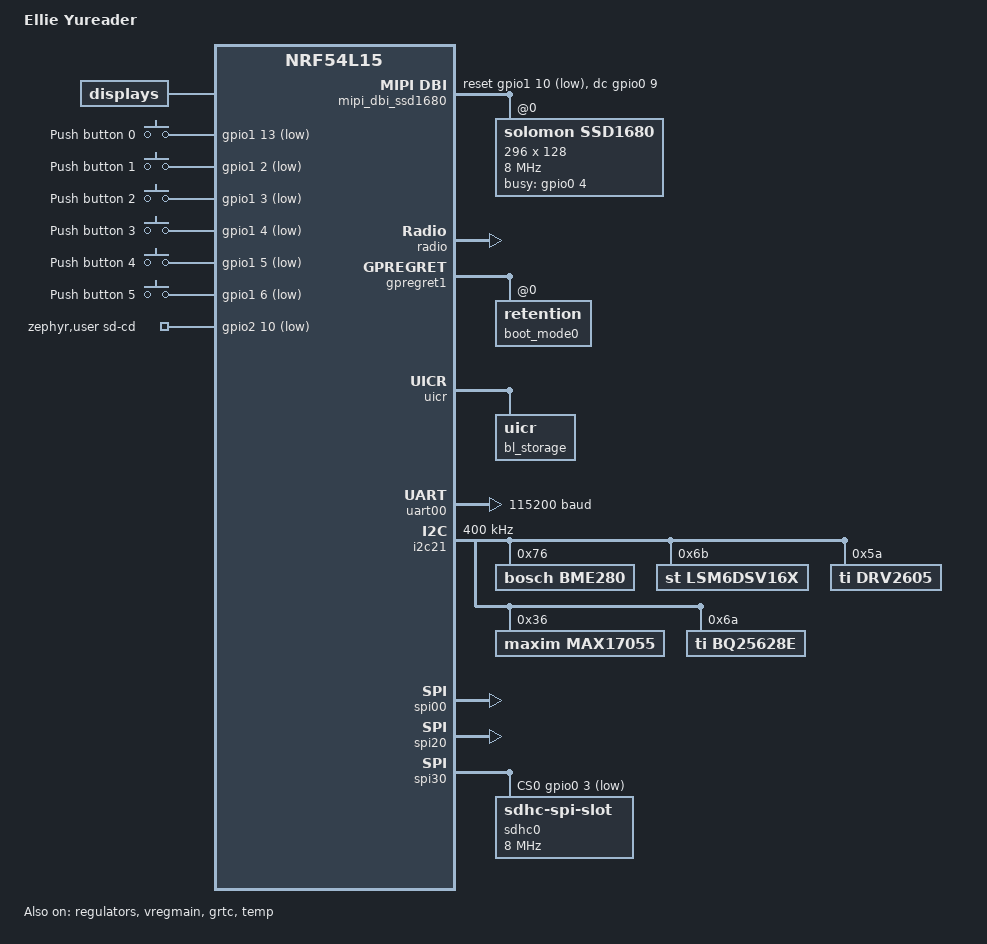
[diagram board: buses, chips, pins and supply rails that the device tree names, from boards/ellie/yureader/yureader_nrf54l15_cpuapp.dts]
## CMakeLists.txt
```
cmake_minimum_required(VERSION 3.20)

list(APPEND BOARD_ROOT ${CMAKE_CURRENT_SOURCE_DIR})

find_package(Zephyr REQUIRED HINTS $ENV{ZEPHYR_BASE})
project(yureader)

target_sources(app PRIVATE src/main.c src/bindings/zephyr.c src/bindings/sd.c src/bindings/display.c src/font.c src/bindings/buttons.c)

target_include_directories(app PRIVATE ${CMAKE_CURRENT_SOURCE_DIR}/include)

file(GLOB_RECURSE ZIG_FILES CONFIGURE_DEPENDS "${CMAKE_SOURCE_DIR}/src/zig/*")

add_custom_command(
    OUTPUT ${CMAKE_SOURCE_DIR}/build/libapp.a
    COMMAND zig build
    WORKING_DIRECTORY ${CMAKE_SOURCE_DIR}/src
    DEPENDS ${ZIG_FILES} ${CMAKE_CURRENT_SOURCE_DIR}/src/build.zig
    VERBATIM
)

add_custom_target(app_zig_build
    DEPENDS ${CMAKE_SOURCE_DIR}/build/libapp.a
)

add_library(app_zig STATIC IMPORTED)
set_target_properties(app_zig PROPERTIES IMPORTED_LOCATION ${CMAKE_SOURCE_DIR}/build/libapp.a)
add_dependencies(app_zig app_zig_build)
target_link_libraries(app PRIVATE app_zig)

add_subdirectory(drivers)
```

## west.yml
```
manifest:
  version: "0.13"

  remotes:
    - name: nrfconnect
      url-base: https://github.com/nrfconnect

  projects:
    - name: nrf
      remote: nrfconnect
      repo-path: sdk-nrf
      path: nrf
      revision: v3.3.0
      import: true

  self:
    path: app
```

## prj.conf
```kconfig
CONFIG_MAIN_STACK_SIZE=4096
CONFIG_HEAP_MEM_POOL_SIZE=16384

CONFIG_GPIO=y

CONFIG_I2C=y
CONFIG_SPI=y

CONFIG_SENSOR=y
CONFIG_BME280=y

CONFIG_HAPTICS=y

CONFIG_PRINTK=y
CONFIG_CONSOLE=y
CONFIG_LOG=y

CONFIG_FUEL_GAUGE=y
CONFIG_MAX17055=y

CONFIG_DISK_ACCESS=y
CONFIG_DISK_DRIVER_SDMMC=y
CONFIG_FILE_SYSTEM=y
CONFIG_FAT_FILESYSTEM_ELM=y
CONFIG_FILE_SYSTEM_MKFS=y

CONFIG_FS_FATFS_MOUNT_MKFS=n

CONFIG_DISPLAY=y
CONFIG_SSD16XX=y

CONFIG_CHARGER=y
CONFIG_CHARGER_BQ25628E=y

CONFIG_DEBUG=y
CONFIG_DEBUG_THREAD_INFO=y
CONFIG_ASSERT=y
CONFIG_RESET_ON_FATAL_ERROR=n
CONFIG_FAULT_DUMP=2
CONFIG_INIT_STACKS=y
CONFIG_THREAD_STACK_INFO=y
CONFIG_THREAD_NAME=y

# Better symbols + unwind info
CONFIG_FRAME_POINTER=y
CONFIG_DEBUG_OPTIMIZATIONS=y   # Use -Og for debuggable builds

# Print a stack trace on fatal errors (if supported by your arch)
CONFIG_EXCEPTION_STACK_TRACE=y

# Catch stack corruption sooner
CONFIG_STACK_SENTINEL=y
CONFIG_MPU_STACK_GUARD=y
```

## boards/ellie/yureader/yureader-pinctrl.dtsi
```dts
&pinctrl {
	uart00_default: uart00_default {
		group1 {
			psels = <NRF_PSEL(UART_TX, 2, 7)>;
		};

		group2 {
			psels = <NRF_PSEL(UART_RX, 2, 8)>;
		};
	};

	uart00_sleep: uart00_sleep {
		group1 {
			psels = <NRF_PSEL(UART_TX, 2, 7)>;
			low-power-enable;
		};

		group2 {
			psels = <NRF_PSEL(UART_RX, 2, 8)>;
			low-power-enable;
		};
	};

	i2c21_default: i2c21_default {
		group1 {
			psels = <NRF_PSEL(TWIM_SCL, 1, 7)>,
			       <NRF_PSEL(TWIM_SDA, 1, 8)>;
		};
	};

	i2c21_sleep: i2c21_sleep {
		group1 {
			psels = <NRF_PSEL(TWIM_SCL, 1, 7)>,
			       <NRF_PSEL(TWIM_SDA, 1, 8)>;
			low-power-enable;
		};
	};

	spi00_default: spi00_default {
		group1 {
			psels = <NRF_PSEL(SPIM_SCK, 2, 1)>,
				<NRF_PSEL(SPIM_MOSI, 2, 2)>,
				<NRF_PSEL(SPIM_MISO, 2, 4)>;
		};
	};

	spi00_sleep: spi00_sleep {
		group1 {
			psels = <NRF_PSEL(SPIM_SCK, 2, 1)>,
				<NRF_PSEL(SPIM_MOSI, 2, 2)>,
				<NRF_PSEL(SPIM_MISO, 2, 4)>;
			low-power-enable;
		};
	};

	spi20_default: spi20_default {
		group1 {
			psels = <NRF_PSEL(SPIM_SCK, 1, 11)>,
				<NRF_PSEL(SPIM_MOSI, 1, 12)>;
		};
	};

	spi20_sleep: spi20_sleep {
		group1 {
			psels = <NRF_PSEL(SPIM_SCK, 1, 11)>,
				<NRF_PSEL(SPIM_MOSI, 1, 12)>;
			low-power-enable;
		};
	};

	spi30_default: spi30_default {
		group1 {
			psels = <NRF_PSEL(SPIM_SCK, 0, 0)>,
				<NRF_PSEL(SPIM_MOSI, 0, 1)>,
				<NRF_PSEL(SPIM_MISO, 0, 2)>;
		};
	};

	spi30_sleep: spi30_sleep {
		group1 {
			psels = <NRF_PSEL(SPIM_SCK, 0, 0)>,
				<NRF_PSEL(SPIM_MOSI, 0, 1)>,
				<NRF_PSEL(SPIM_MISO, 0, 2)>;
			low-power-enable;
		};
	};
};
```

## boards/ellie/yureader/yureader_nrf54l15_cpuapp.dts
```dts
/dts-v1/;

#include <nordic/nrf54l15_cpuapp.dtsi>
#include <zephyr/dt-bindings/input/input-event-codes.h>
#include <zephyr/dt-bindings/i2c/i2c.h>
#include <zephyr/dt-bindings/sensor/lsm6dsv16x.h>
#include "yureader-pinctrl.dtsi"

/ {
	compatible = "ellie,yureader";
	model = "Ellie Yureader";

	chosen {
		zephyr,console = &uart00;
		zephyr,shell-uart = &uart00;
		zephyr,uart-mcumgr = &uart00;
		zephyr,bt-mon-uart = &uart00;
		zephyr,bt-c2h-uart = &uart00;
		zephyr,display = &ssd1680;
		zephyr,code-partition = &slot0_partition;
		zephyr,sram = &cpuapp_sram;
		zephyr,flash-controller = &rram_controller;
		zephyr,flash = &cpuapp_rram;
		zephyr,boot-mode = &boot_mode0;
		zephyr,display = &ssd1680;
	};

	displays {
		compatible = "zephyr,displays";
		displays = <&ssd1680>;
	};
	
	buttons {
		compatible = "gpio-keys";

		button0: button_0 {
			gpios = <&gpio1 13 GPIO_ACTIVE_LOW>;
			label = "Push button 0";
			zephyr,code = <INPUT_KEY_0>;
		};

		button1: button_1 {
			gpios = <&gpio1 2 GPIO_ACTIVE_LOW>;
			label = "Push button 1";
			zephyr,code = <INPUT_KEY_1>;
		};

		button2: button_3 {
			gpios = <&gpio1 3 GPIO_ACTIVE_LOW>;
			label = "Push button 2";
			zephyr,code = <INPUT_KEY_2>;
		};

		button3: button_4 {
			gpios = <&gpio1 4 GPIO_ACTIVE_LOW>;
			label = "Push button 3";
			zephyr,code = <INPUT_KEY_3>;
		};

		button4: button_5 {
			gpios = <&gpio1 5 GPIO_ACTIVE_LOW>;
			label = "Push button 4";
			zephyr,code = <INPUT_KEY_4>;
		};

		button5: button_6 {
			gpios = <&gpio1 6 GPIO_ACTIVE_LOW>;
			label = "Push button 5";
			zephyr,code = <INPUT_KEY_5>;
		};
	};

	zephyr,user {
		sd-cd-gpios = <&gpio2 10 GPIO_ACTIVE_LOW>;
	};

	aliases {
		sw0 = &button0;
		sw1 = &button1;
		sw2 = &button2;
		sw3 = &button3;
		sw4 = &button4;
		sw5 = &button5;
	};
};

&cpuapp_sram {
	status = "okay";
};

&lfxo {
	load-capacitors = "external";
};

&hfxo {
	load-capacitors = "external";
};

&regulators {
	status = "okay";
};

&vregmain {
	status = "okay";
	regulator-initial-mode = <NRF5X_REG_MODE_DCDC>;
};

&grtc {
	owned-channels = <0 1 2 3 4 5 6 7 8 9 10 11>;
	/* Channels 7-11 reserved for Zero Latency IRQs, 3-4 for FLPR */
	child-owned-channels = <3 4 7 8 9 10 11>;
	status = "okay";
};

&gpio0 {
	status = "okay";
};

&gpio1 {
	status = "okay";
};

&gpio2 {
	status = "okay";
};

&gpiote20 {
	status = "okay";
};

&gpiote30 {
	status = "okay";
};

&radio {
	status = "okay";
};

&ieee802154 {
	status = "disabled";
};

&temp {
	status = "okay";
};

&clock {
	status = "okay";
};

&gpregret1 {
    status = "okay";

    boot_mode0: boot_mode@0 {
        compatible = "zephyr,retention";
        status = "okay";
        reg = <0x0 0x1>;
    };
};

&cpuapp_rram {
	partitions {
		compatible = "fixed-partitions";
		#address-cells = <1>;
		#size-cells = <1>;

		boot_partition: partition@0 {
			label = "mcuboot";
			reg = <0x0 DT_SIZE_K(64)>;
		};

		slot0_partition: partition@10000 {
			label = "image-0";
			reg = <0x10000 DT_SIZE_K(664)>;
		};

		slot1_partition: partition@b6000 {
			label = "image-1";
			reg = <0xb6000 DT_SIZE_K(664)>;
		};

		storage_partition: partition@15c000 {
			label = "storage";
			reg = <0x15c000 DT_SIZE_K(36)>;
		};
	};
};

&uicr {
	bl_storage: uicr@500 {
		reg = <0x500 0x460>;
	};
};

&uart00 {
	status = "okay";
	current-speed = <115200>;
	pinctrl-0 = <&uart00_default>;
	pinctrl-1 = <&uart00_sleep>;
	pinctrl-names = "default", "sleep";
};

&i2c21 {
	compatible = "nordic,nrf-twim";
	status = "okay";
	clock-frequency = <I2C_BITRATE_FAST>;

	pinctrl-0 = <&i2c21_default>;
	pinctrl-1 = <&i2c21_sleep>;
	pinctrl-names = "default", "sleep";

	bme280: bme280@76 {
		compatible = "bosch,bme280";
		reg = <0x76>;
	};

	lsm6dsv16x: lsm6dsv16x@6b {
		compatible = "st,lsm6dsv16x";
		reg = <0x6b>;

		accel-range = <LSM6DSV16X_DT_FS_8G>;
		accel-odr = <LSM6DSVXXX_DT_ODR_AT_60Hz>;

		gyro-range = <LSM6DSV16X_DT_FS_2000DPS>;
		gyro-odr = <LSM6DSVXXX_DT_ODR_AT_60Hz>;
	};

	drv2605: drv2605@5a {
		compatible = "ti,drv2605";
		reg = <0x5a>;
		status = "okay";

		actuator-mode = "LRA";

		vib-rated-mv = <2500>;
		vib-overdrive-mv = <2500>;

		feedback-brake-factor = "3X";
		loop-gain = "HIGH";
	};

	max17055: max17055@36 {
		compatible = "maxim,max17055";
		reg = <0x36>;
		status = "okay";

		design-capacity = <1450>;
		design-voltage = <3700>;
		desired-voltage = <4200>;

		desired-charging-current = <400>;

		i-chg-term = <75>;

		rsense-mohms = <10>;
		v-empty = <3000>;
	};

	bq25628e: bq25628e@6a {
		compatible = "ti,bq25628e";
		reg = <0x6a>;
		status = "okay";
		constant-charge-current-max-microamp = <400000>;
		constant-charge-voltage-max-microvolt = <4200000>;

		charge-term-current-microamp = <75000>;
		precharge-current-microamp = <30000>;
	};
};

&spi00 {
	status = "okay";
	cs-gpios = <&gpio2 5 GPIO_ACTIVE_LOW>;
	pinctrl-0 = <&spi00_default>;
	pinctrl-1 = <&spi00_sleep>;
	pinctrl-names = "default", "sleep";

	#address-cells = <1>;
	#size-cells = <0>;

	// TODO: add sx1262
};

&spi20 {
	status = "okay";
	cs-gpios = <&gpio2 6 GPIO_ACTIVE_LOW>;
	pinctrl-0 = <&spi20_default>;
	pinctrl-1 = <&spi20_sleep>;
	pinctrl-names = "default", "sleep";

	#address-cells = <1>;
	#size-cells = <0>;
};

/ {
	mipi_dbi_ssd1680 {
		compatible = "zephyr,mipi-dbi-spi";
		spi-dev = <&spi20>;
		dc-gpios = <&gpio0 9 GPIO_ACTIVE_HIGH>;
		reset-gpios = <&gpio1 10 GPIO_ACTIVE_LOW>;
		#address-cells = <1>;
		#size-cells = <0>;

		ssd1680: ssd1680@0 {
			compatible = "solomon,ssd1680";
			reg = <0>;
			status = "okay";
			mipi-max-frequency = <8000000>;
			busy-gpios = <&gpio0 4 GPIO_ACTIVE_HIGH>;

			width = <296>;
			height = <128>;

			rotation = <0>;
		};
	};
};

&spi30 {
	status = "okay";
	cs-gpios = <&gpio0 3 GPIO_ACTIVE_LOW>;
	pinctrl-0 = <&spi30_default>;
	pinctrl-1 = <&spi30_sleep>;
	pinctrl-names = "default", "sleep";

	#address-cells = <1>;
	#size-cells = <0>;

	sdhc0: sdhc@0 {
		compatible = "zephyr,sdhc-spi-slot";
		reg = <0>;
		status = "okay";
		spi-max-frequency = <8000000>;

		mmc {
			compatible = "zephyr,sdmmc-disk";
			disk-name = "SD";
			status = "okay";
		};
	};
};
```

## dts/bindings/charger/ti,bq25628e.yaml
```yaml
description: ti bq25628e i2c single-cell battery charger

compatible: "ti,bq25628e"

include: i2c-device.yaml

properties:
  constant-charge-current-max-microamp:
    type: int
    required: true
    default: 320000
    description: init-time charge current limit in microamps

  constant-charge-voltage-max-microvolt:
    type: int
    required: true
    default: 4200000
    description: charge voltage limit in microvolts

  input-current-limit-microamp:
    type: int
    default: 0
    description: init-time input current limit, 0 skips setting it

  input-voltage-limit-millivolt:
    type: int
    default: 0
    description: init-time input voltage limit in millivolts, 0 skips setting it
  
  enable-watchdog:
    type: boolean
    description: enable the watchdog timer

  charge-term-current-microamp:
    type: int
    default: 75000
    description: |
      charge termination current in uA.
      bq25628e range is 5000uA to 310000uA in 5000uA steps.

  charge-termination-disabled:
    type: boolean
    description: disable automatic charge termination by clearing EN_TERM.

  precharge-current-microamp:
    type: int
    default: 30000
    description: |
      precharge current in uA.
      bq25628e range is 10000uA to 310000uA in 10000uA steps.
  
```

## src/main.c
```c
#include <zephyr/kernel.h>

int main(void) {
    volatile int alive = 0;

    while (1) {
        alive++;
        __asm volatile ("nop");
    }
}
```
